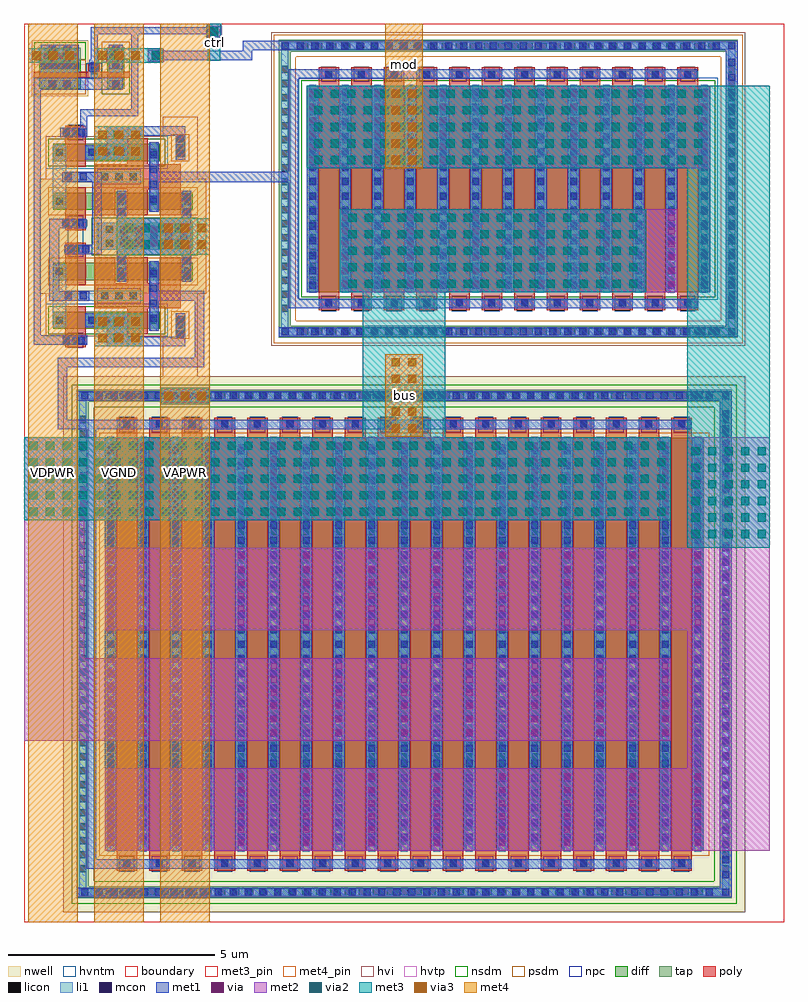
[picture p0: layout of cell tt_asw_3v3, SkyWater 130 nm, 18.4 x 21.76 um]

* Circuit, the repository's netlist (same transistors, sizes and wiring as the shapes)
** sch_path: /home/tnt/consult/tinytapeout/tt_asw_3v3/xschem/tt_asw_3v3.sch
.subckt tt_asw_3v3 VGND VDPWR VAPWR ctrl mod bus
*.iopin mod
*.iopin bus
*.ipin ctrl
*.iopin VGND
*.iopin VDPWR
*.iopin VAPWR
XM1 tgon_n net2 VAPWR VAPWR sky130_fd_pr__pfet_g5v0d10v5 L=0.5 W=0.84 nf=1 ad='int((nf+1)/2) * W/nf * 0.29' as='int((nf+2)/2) * W/nf * 0.29'
+ pd='2*int((nf+1)/2) * (W/nf + 0.29)' ps='2*int((nf+2)/2) * (W/nf + 0.29)' nrd='0.29 / W' nrs='0.29 / W' sa=0 sb=0 sd=0 mult=1 m=1
XM2 tgon_n net2 VGND VGND sky130_fd_pr__nfet_g5v0d10v5 L=0.5 W=0.42 nf=1 ad='int((nf+1)/2) * W/nf * 0.29' as='int((nf+2)/2) * W/nf * 0.29'
+ pd='2*int((nf+1)/2) * (W/nf + 0.29)' ps='2*int((nf+2)/2) * (W/nf + 0.29)' nrd='0.29 / W' nrs='0.29 / W' sa=0 sb=0 sd=0 mult=1 m=1
XM3 tgon net1 VAPWR VAPWR sky130_fd_pr__pfet_g5v0d10v5 L=0.5 W=0.84 nf=1 ad='int((nf+1)/2) * W/nf * 0.29' as='int((nf+2)/2) * W/nf * 0.29'
+ pd='2*int((nf+1)/2) * (W/nf + 0.29)' ps='2*int((nf+2)/2) * (W/nf + 0.29)' nrd='0.29 / W' nrs='0.29 / W' sa=0 sb=0 sd=0 mult=1 m=1
XM4 tgon net1 VGND VGND sky130_fd_pr__nfet_g5v0d10v5 L=0.5 W=0.42 nf=1 ad='int((nf+1)/2) * W/nf * 0.29' as='int((nf+2)/2) * W/nf * 0.29'
+ pd='2*int((nf+1)/2) * (W/nf + 0.29)' ps='2*int((nf+2)/2) * (W/nf + 0.29)' nrd='0.29 / W' nrs='0.29 / W' sa=0 sb=0 sd=0 mult=1 m=1
XM5 bus tgon_n mod VAPWR sky130_fd_pr__pfet_g5v0d10v5 L=0.5 W=180 nf=18 ad='int((nf+1)/2) * W/nf * 0.29' as='int((nf+2)/2) * W/nf * 0.29'
+ pd='2*int((nf+1)/2) * (W/nf + 0.29)' ps='2*int((nf+2)/2) * (W/nf + 0.29)' nrd='0.29 / W' nrs='0.29 / W' sa=0 sb=0 sd=0 mult=1 m=1
XM6 bus tgon mod VGND sky130_fd_pr__nfet_g5v0d10v5 L=0.5 W=60 nf=12 ad='int((nf+1)/2) * W/nf * 0.29' as='int((nf+2)/2) * W/nf * 0.29'
+ pd='2*int((nf+1)/2) * (W/nf + 0.29)' ps='2*int((nf+2)/2) * (W/nf + 0.29)' nrd='0.29 / W' nrs='0.29 / W' sa=0 sb=0 sd=0 mult=1 m=1
XM7 ctrl_n ctrl VGND VGND sky130_fd_pr__nfet_01v8 L=0.15 W=0.42 nf=1 ad='int((nf+1)/2) * W/nf * 0.29' as='int((nf+2)/2) * W/nf * 0.29'
+ pd='2*int((nf+1)/2) * (W/nf + 0.29)' ps='2*int((nf+2)/2) * (W/nf + 0.29)' nrd='0.29 / W' nrs='0.29 / W' sa=0 sb=0 sd=0 mult=1 m=1
XM8 ctrl_n ctrl VDPWR VDPWR sky130_fd_pr__pfet_01v8_hvt L=0.15 W=1 nf=1 ad='int((nf+1)/2) * W/nf * 0.29' as='int((nf+2)/2) * W/nf * 0.29'
+ pd='2*int((nf+1)/2) * (W/nf + 0.29)' ps='2*int((nf+2)/2) * (W/nf + 0.29)' nrd='0.29 / W' nrs='0.29 / W' sa=0 sb=0 sd=0 mult=1 m=1
XM9 net1 ctrl VGND VGND sky130_fd_pr__nfet_g5v0d10v5 L=0.5 W=0.42 nf=1 ad='int((nf+1)/2) * W/nf * 0.29' as='int((nf+2)/2) * W/nf * 0.29'
+ pd='2*int((nf+1)/2) * (W/nf + 0.29)' ps='2*int((nf+2)/2) * (W/nf + 0.29)' nrd='0.29 / W' nrs='0.29 / W' sa=0 sb=0 sd=0 mult=1 m=1
XM10 net2 ctrl_n VGND VGND sky130_fd_pr__nfet_g5v0d10v5 L=0.5 W=0.42 nf=1 ad='int((nf+1)/2) * W/nf * 0.29' as='int((nf+2)/2) * W/nf * 0.29'
+ pd='2*int((nf+1)/2) * (W/nf + 0.29)' ps='2*int((nf+2)/2) * (W/nf + 0.29)' nrd='0.29 / W' nrs='0.29 / W' sa=0 sb=0 sd=0 mult=1 m=1
XM11 net1 net2 net3 VAPWR sky130_fd_pr__pfet_g5v0d10v5 L=0.5 W=0.42 nf=1 ad='int((nf+1)/2) * W/nf * 0.29' as='int((nf+2)/2) * W/nf * 0.29'
+ pd='2*int((nf+1)/2) * (W/nf + 0.29)' ps='2*int((nf+2)/2) * (W/nf + 0.29)' nrd='0.29 / W' nrs='0.29 / W' sa=0 sb=0 sd=0 mult=1 m=1
XM12 net2 net1 net4 VAPWR sky130_fd_pr__pfet_g5v0d10v5 L=0.5 W=0.42 nf=1 ad='int((nf+1)/2) * W/nf * 0.29' as='int((nf+2)/2) * W/nf * 0.29'
+ pd='2*int((nf+1)/2) * (W/nf + 0.29)' ps='2*int((nf+2)/2) * (W/nf + 0.29)' nrd='0.29 / W' nrs='0.29 / W' sa=0 sb=0 sd=0 mult=1 m=1
XM13 net3 net1 VAPWR VAPWR sky130_fd_pr__pfet_g5v0d10v5 L=0.5 W=0.42 nf=1 ad='int((nf+1)/2) * W/nf * 0.29' as='int((nf+2)/2) * W/nf * 0.29'
+ pd='2*int((nf+1)/2) * (W/nf + 0.29)' ps='2*int((nf+2)/2) * (W/nf + 0.29)' nrd='0.29 / W' nrs='0.29 / W' sa=0 sb=0 sd=0 mult=1 m=1
XM14 net4 net2 VAPWR VAPWR sky130_fd_pr__pfet_g5v0d10v5 L=0.5 W=0.42 nf=1 ad='int((nf+1)/2) * W/nf * 0.29' as='int((nf+2)/2) * W/nf * 0.29'
+ pd='2*int((nf+1)/2) * (W/nf + 0.29)' ps='2*int((nf+2)/2) * (W/nf + 0.29)' nrd='0.29 / W' nrs='0.29 / W' sa=0 sb=0 sd=0 mult=1 m=1
.ends
.end

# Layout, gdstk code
import gdstk
lib = gdstk.Library(unit=1e-6, precision=1e-09)
def R(c, l, rs):  # rectangles x0, y0, x1, y1
    for r in rs: c.add(gdstk.rectangle(r[:2], r[2:], *l))
def A(c, l, x, y, w, h, nx, ny, dx, dy):  # array of equal rectangles
    R(c, l, [(x+i*dx, y+j*dy, x+i*dx+w, y+j*dy+h) for i in range(nx) for j in range(ny)])
nwell = (64, 20)
diff = (65, 20)
tap = (65, 44)
poly = (66, 20)
licon = (66, 44)
li1 = (67, 20)
mcon = (67, 44)
met1 = (68, 20)
via = (68, 44)
met2 = (69, 20)
via2 = (69, 44)
met3_pin = (70, 16)
met3 = (70, 20)
via3 = (70, 44)
met4_pin = (71, 16)
met4 = (71, 20)
hvi = (75, 20)
hvtp = (78, 44)
nsdm = (93, 44)
psdm = (94, 20)
npc = (95, 20)
hvntm = (125, 20)
boundary = (235, 4)

tt_asw_3v3 = lib.new_cell('tt_asw_3v3')
R(tt_asw_3v3, nwell, [(0.95,0.25,17.46,13.22), (0.38,15.22,4.41,18), (0.19,20,1.55,21.36)])
R(tt_asw_3v3, diff, [(1.95,1.735,16.46,11.735), (0.71,14.37,3.29,14.79), (6.84,15.26,16.61,20.26), (0.71,15.55,4.08,15.97), (0.71,17.25,4.08,17.67), (0.71,18.43,3.29,18.85), (0.37,20.18,1.37,20.89), (2.01,20.18,2.43,20.9)])
R(tt_asw_3v3, tap, [(1.28,0.58,17.13,0.87), (1.28,0.87,1.57,12.6), (16.84,0.87,17.13,12.6), (1.28,12.6,17.13,12.89), (6.17,14.15,17.28,14.44), (3.69,14.26,3.88,14.67), (6.17,14.44,6.46,21.08), (16.99,14.44,17.28,21.08), (1.76,16.28,4.08,16.94), (3.69,18.55,3.88,18.96), (0.37,20.89,1.37,21.18), (2.01,20.9,2.43,21.19), (6.17,21.08,17.28,21.37)])
A(tt_asw_3v3, poly, 2.24, 1.25, 0.5, 10.97, 18, 1, 0.79, 0)
A(tt_asw_3v3, poly, 7.13, 14.82, 0.5, 5.88, 12, 1, 0.79, 0)
A(tt_asw_3v3, poly, 1.71, 15.47, 0.5, 0.63, 3, 2, 0.79, 1.65)
R(tt_asw_3v3, poly, [(1,13.93,1.5,14.92), (2.5,14.24,3,14.87), (1.71,14.87,3.79,15.47), (1,15.42,1.5,16.46), (1,16.76,1.5,17.8), (1.71,17.75,3.79,18.35), (1,18.3,1.5,19.29), (2.5,18.35,3,18.98), (0.24,20.45,2.56,20.6), (1.56,20.6,1.83,20.78)])
A(tt_asw_3v3, licon, 1.98, 0.64, 0.17, 0.17, 43, 2, 0.34, 12.02)
A(tt_asw_3v3, licon, 1.34, 1.21, 0.17, 0.17, 1, 33, 0, 0.34)
A(tt_asw_3v3, licon, 16.9, 1.21, 0.17, 0.17, 1, 33, 0, 0.34)
A(tt_asw_3v3, licon, 2.405, 1.33, 0.17, 0.17, 18, 2, 0.79, 10.64)
A(tt_asw_3v3, licon, 2.01, 1.89, 0.17, 0.17, 19, 29, 0.79, 0.34)
A(tt_asw_3v3, licon, 6.71, 14.21, 0.17, 0.17, 30, 2, 0.34, 6.93)
A(tt_asw_3v3, licon, 1.575, 14.495, 0.17, 0.17, 3, 2, 0.34, 4.06)
A(tt_asw_3v3, licon, 6.23, 14.785, 0.17, 0.17, 1, 18, 0, 0.34)
A(tt_asw_3v3, licon, 17.05, 14.785, 0.17, 0.17, 1, 18, 0, 0.34)
A(tt_asw_3v3, licon, 7.295, 14.9, 0.17, 0.17, 12, 2, 0.79, 5.55)
A(tt_asw_3v3, licon, 1.875, 15.085, 0.17, 0.17, 3, 2, 0.34, 2.88)
A(tt_asw_3v3, licon, 6.9, 15.465, 0.17, 0.17, 13, 14, 0.79, 0.34)
A(tt_asw_3v3, licon, 2.27, 15.675, 0.17, 0.17, 3, 2, 0.79, 1.7)
A(tt_asw_3v3, licon, 1.985, 16.355, 0.17, 0.17, 6, 2, 0.34, 0.34)
A(tt_asw_3v3, licon, 0.445, 20.66, 0.17, 0.17, 3, 1, 0.34, 0)
R(tt_asw_3v3, licon, [(1.165,14.01,1.335,14.18), (3.7,14.38,3.87,14.55), (0.77,14.495,0.94,14.665), (3.06,14.495,3.23,14.665), (0.77,15.675,0.94,15.845), (1.165,16.21,1.335,16.38), (1.165,16.84,1.335,17.01), (0.77,17.375,0.94,17.545), (0.77,18.555,0.94,18.725), (3.06,18.555,3.23,18.725), (3.7,18.67,3.87,18.84), (1.165,19.04,1.335,19.21), (0.615,20.22,0.785,20.39), (0.955,20.22,1.125,20.39), (2.135,20.22,2.305,20.39), (1.61,20.53,1.78,20.7), (2.135,20.66,2.305,20.83), (0.615,21,0.785,21.17), (0.955,21,1.125,21.17), (2.135,21,2.305,21.17)])
A(tt_asw_3v3, li1, 2.24, 1.33, 0.5, 0.17, 18, 2, 0.79, 10.64)
A(tt_asw_3v3, li1, 2.01, 1.715, 0.17, 10.04, 19, 1, 0.79, 0)
A(tt_asw_3v3, li1, 7.13, 14.9, 0.5, 0.17, 12, 2, 0.79, 5.55)
A(tt_asw_3v3, li1, 6.9, 15.24, 0.17, 5.04, 13, 1, 0.79, 0)
R(tt_asw_3v3, li1, [(1.34,0.64,17.07,0.81), (1.34,0.81,1.51,12.66), (16.9,0.81,17.07,12.66), (1.34,12.66,17.07,12.83), (0.94,14.01,1.53,14.18), (3.7,14.16,3.87,14.69), (6.23,14.21,17.22,14.38), (3.06,14.33,3.23,16.01), (6.23,14.38,6.4,21.14), (17.05,14.38,17.22,21.14), (0.69,14.41,1.02,15.045), (1.48,14.41,2.52,14.75), (0.69,15.045,2.89,15.295), (0.69,15.295,1.02,15.93), (2.27,15.51,2.44,16.28), (3.85,15.51,4.02,16.28), (0.97,16.21,1.58,16.38), (1.8,16.28,4.04,16.94), (0.92,16.84,1.53,17.01), (2.27,16.94,2.44,17.71), (3.85,16.94,4.02,17.71), (3.06,17.21,3.23,18.89), (0.69,17.29,1.02,17.925), (0.69,17.925,2.89,18.175), (0.69,18.175,1.02,18.81), (1.48,18.47,2.52,18.81), (3.7,18.53,3.87,19.06), (0.94,19.04,1.53,19.21), (0.41,20.22,1.33,20.39), (2.05,20.22,2.39,20.39), (1.61,20.45,1.78,20.82), (0.41,20.58,1.33,21.25), (2.05,20.58,2.39,21.25), (6.23,21.14,17.22,21.31)])
A(tt_asw_3v3, mcon, 1.38, 0.64, 0.17, 0.17, 43, 2, 0.36, 12.02)
A(tt_asw_3v3, mcon, 16.9, 1.07, 0.17, 0.17, 1, 32, 0, 0.36)
A(tt_asw_3v3, mcon, 2.405, 1.33, 0.17, 0.17, 18, 2, 0.79, 10.64)
A(tt_asw_3v3, mcon, 2.01, 1.97, 0.17, 0.17, 19, 27, 0.79, 0.36)
A(tt_asw_3v3, mcon, 6.24, 14.21, 0.17, 0.17, 30, 2, 0.36, 6.93)
A(tt_asw_3v3, mcon, 1.555, 14.495, 0.17, 0.17, 3, 2, 0.36, 4.06)
A(tt_asw_3v3, mcon, 3.06, 14.545, 0.17, 0.17, 1, 4, 0, 0.36)
A(tt_asw_3v3, mcon, 17.05, 14.615, 0.17, 0.17, 1, 18, 0, 0.36)
A(tt_asw_3v3, mcon, 7.295, 14.9, 0.17, 0.17, 12, 2, 0.79, 5.55)
A(tt_asw_3v3, mcon, 6.9, 15.335, 0.17, 0.17, 13, 14, 0.79, 0.36)
A(tt_asw_3v3, mcon, 2.34, 16.525, 0.17, 0.17, 5, 1, 0.36, 0)
A(tt_asw_3v3, mcon, 3.06, 17.425, 0.17, 0.17, 1, 4, 0, 0.36)
R(tt_asw_3v3, mcon, [(16.9,0.64,17.07,0.81), (16.9,12.66,17.07,12.83), (0.94,14.01,1.11,14.18), (1.3,14.01,1.47,14.18), (3.7,14.16,3.87,14.33), (17.05,14.21,17.22,14.38), (3.7,14.52,3.87,14.69), (0.985,15.085,1.155,15.255), (1.345,15.085,1.515,15.255), (2.27,15.57,2.44,15.74), (3.85,15.57,4.02,15.74), (2.27,15.93,2.44,16.1), (3.85,15.93,4.02,16.1), (1.05,16.21,1.22,16.38), (1.41,16.21,1.58,16.38), (0.92,16.84,1.09,17.01), (1.28,16.84,1.45,17.01), (2.27,17.12,2.44,17.29), (3.85,17.12,4.02,17.29), (2.27,17.48,2.44,17.65), (3.85,17.48,4.02,17.65), (0.985,17.965,1.155,18.135), (1.345,17.965,1.515,18.135), (3.7,18.53,3.87,18.7), (3.7,18.89,3.87,19.06), (0.94,19.04,1.11,19.21), (1.3,19.04,1.47,19.21), (0.605,20.22,0.775,20.39), (0.965,20.22,1.135,20.39), (2.135,20.22,2.305,20.39), (1.61,20.65,1.78,20.82), (0.605,20.685,0.775,20.855), (0.965,20.685,1.135,20.855), (2.135,20.685,2.305,20.855), (0.605,21.045,0.775,21.215), (0.965,21.045,1.135,21.215), (2.135,21.045,2.305,21.215), (17.05,21.14,17.22,21.31)])
A(tt_asw_3v3, met1, 1.96, 1.73, 0.27, 10.01, 19, 1, 0.79, 0)
A(tt_asw_3v3, met1, 6.85, 15.26, 0.27, 5, 13, 1, 0.79, 0)
R(tt_asw_3v3, met1, [(1.28,0.61,17.13,0.84), (16.84,0.84,17.13,12.63), (1.52,1.3,16.15,1.53), (1.52,1.53,1.75,11.94), (0.82,11.94,16.15,12.17), (0.82,12.17,1.05,13.44), (3.31,12.58,4.49,12.63), (1.28,12.63,17.13,12.86), (3.31,12.86,4.49,12.91), (0.82,13.44,4.36,13.67), (4.13,13.67,4.36,15.045), (2,13.95,3.9,14.18), (0.24,13.98,1.53,14.21), (2,14.18,2.52,14.41), (3.67,14.18,3.9,14.75), (6.17,14.18,17.28,14.41), (0.24,14.21,0.41,20.16), (3.03,14.33,3.26,15.045), (1.48,14.41,2.52,14.75), (16.99,14.41,17.28,21.11), (6.41,14.87,16.3,15.1), (3.03,15.045,4.36,15.295), (0.61,15.055,1.58,15.285), (6.41,15.1,6.64,17.925), (0.61,15.285,0.85,16.81), (3.03,15.295,3.26,16.01), (2.24,15.51,2.47,16.17), (3.82,15.51,4.05,16.17), (2.24,16.17,4.05,17.05), (0.99,16.18,1.88,16.41), (1.65,16.41,1.88,17.935), (0.61,16.81,1.51,17.04), (2.24,17.05,2.47,17.71), (3.82,17.05,4.05,17.71), (3.03,17.21,3.26,17.925), (3.03,17.925,6.64,18.175), (0.92,17.935,1.88,18.165), (3.03,18.175,3.26,18.89), (6.41,18.175,6.64,20.42), (1.48,18.47,2.52,18.81), (3.67,18.47,3.9,19.04), (2,18.81,2.52,19.04), (0.88,19.01,1.53,19.24), (2,19.04,3.9,19.27), (1.36,19.24,1.53,19.52), (1.36,19.52,2.77,19.69), (2.6,19.69,2.77,21.5), (0.24,20.16,2.39,20.45), (6.41,20.42,16.3,20.65), (1.58,20.59,1.81,20.88), (0.41,20.65,1.33,21.25), (2.05,20.65,2.39,20.82), (2.01,20.82,2.39,21.15), (2.99,20.85,3.39,20.87), (2.99,20.87,5.53,21.1), (1.61,20.88,1.78,21.5), (2.99,21.1,3.39,21.12), (5.3,21.1,5.53,21.11), (5.3,21.11,17.28,21.34), (2.05,21.15,2.39,21.25), (4.44,21.44,4.76,21.5), (1.61,21.5,4.76,21.67), (4.44,21.67,4.76,21.7)])
A(tt_asw_3v3, via, 2.02, 1.855, 0.15, 0.15, 10, 6, 1.58, 0.32)
A(tt_asw_3v3, via, 2.81, 4.525, 0.15, 0.15, 9, 6, 1.58, 0.32)
A(tt_asw_3v3, via, 2.02, 7.195, 0.15, 0.15, 10, 6, 1.58, 0.32)
A(tt_asw_3v3, via, 2.81, 9.865, 0.15, 0.15, 9, 6, 1.58, 0.32)
A(tt_asw_3v3, via, 3.505, 12.67, 0.15, 0.15, 3, 1, 0.32, 0)
A(tt_asw_3v3, via, 7.7, 15.385, 0.15, 0.15, 6, 6, 1.58, 0.32)
A(tt_asw_3v3, via, 2.43, 16.375, 0.15, 0.15, 5, 2, 0.32, 0.32)
A(tt_asw_3v3, via, 6.91, 18.385, 0.15, 0.15, 7, 6, 1.58, 0.32)
A(tt_asw_3v3, via, 0.475, 20.91, 0.15, 0.15, 3, 1, 0.32, 0)
R(tt_asw_3v3, via, [(2.185,14.115,2.335,14.265), (2.185,14.435,2.335,14.585), (2.185,18.635,2.335,18.785), (2.185,18.955,2.335,19.105), (2.105,20.91,2.255,21.06), (3.115,20.91,3.265,21.06), (4.525,21.495,4.675,21.645)])
R(tt_asw_3v3, met2, [(1.96,1.73,18.06,3.73), (16.06,3.73,18.06,7.07), (0,4.4,15.66,6.4), (0,6.4,1.46,9.74), (1.96,7.07,18.06,9.07), (16.06,9.07,18.06,11.74), (0,9.74,15.66,11.74), (3.31,12.58,4.49,12.91), (2,13.95,2.52,14.75), (7.64,15.26,15.81,17.26), (2.24,16.17,4.05,17.05), (6.85,18.26,16.6,20.26), (2,18.47,2.52,19.27), (0.41,20.82,1.33,21.15), (1.99,20.82,2.37,21.15), (3,20.82,3.38,21.15), (4.41,21.43,4.79,21.71)])
A(tt_asw_3v3, via2, 16.16, 9.305, 0.2, 0.2, 5, 6, 0.4, 0.4)
A(tt_asw_3v3, via2, 0.13, 9.84, 0.2, 0.2, 39, 5, 0.4, 0.4)
A(tt_asw_3v3, via2, 3.4, 12.645, 0.2, 0.2, 3, 1, 0.4, 0)
A(tt_asw_3v3, via2, 7.85, 15.36, 0.2, 0.2, 18, 5, 0.4, 0.4)
A(tt_asw_3v3, via2, 2.445, 16.31, 0.2, 0.2, 4, 2, 0.4, 0.4)
A(tt_asw_3v3, via2, 7.025, 18.36, 0.2, 0.2, 24, 5, 0.4, 0.4)
R(tt_asw_3v3, via2, [(2.16,14.05,2.36,14.25), (2.16,14.45,2.36,14.65), (2.16,18.57,2.36,18.77), (2.16,18.97,2.36,19.17), (0.57,20.885,0.77,21.085), (0.97,20.885,1.17,21.085), (2.08,20.885,2.28,21.085), (3.09,20.885,3.29,21.085), (4.5,21.47,4.7,21.67)])
R(tt_asw_3v3, met3_pin, [(4.45,20.86,4.75,21.76)])
R(tt_asw_3v3, met3, [(16.06,9.07,18.06,18.26), (0,9.74,15.66,11.74), (8.2,11.74,10.2,15.26), (3.31,12.55,4.49,12.94), (1.7,13.95,2.9,14.75), (7.64,15.26,15.06,17.26), (2.24,16.17,4.5,17.05), (6.85,18.26,18.06,20.26), (1.7,18.47,2.9,19.27), (0.1,20.81,1.31,21.16), (1.7,20.81,3.36,21.16), (4.45,20.86,4.75,21.38), (4.43,21.38,4.77,21.76)])
A(tt_asw_3v3, via3, 8.9, 11.86, 0.2, 0.2, 1, 5, 0, 0.4)
A(tt_asw_3v3, via3, 9.3, 11.86, 0.2, 0.2, 1, 5, 0, 0.4)
A(tt_asw_3v3, via3, 3.4, 12.645, 0.2, 0.2, 3, 2, 0.4, 3.665)
A(tt_asw_3v3, via3, 1.8, 14.05, 0.2, 0.2, 3, 2, 0.4, 0.4)
A(tt_asw_3v3, via3, 3.4, 16.71, 0.2, 0.2, 3, 1, 0.4, 0)
A(tt_asw_3v3, via3, 8.9, 18.36, 0.2, 0.2, 1, 5, 0, 0.4)
A(tt_asw_3v3, via3, 9.3, 18.36, 0.2, 0.2, 1, 5, 0, 0.4)
A(tt_asw_3v3, via3, 1.8, 18.57, 0.2, 0.2, 3, 2, 0.4, 0.4)
A(tt_asw_3v3, via3, 0.2, 20.885, 0.2, 0.2, 3, 1, 0.4, 0)
A(tt_asw_3v3, via3, 1.8, 20.885, 0.2, 0.2, 3, 1, 0.4, 0)
A(tt_asw_3v3, met4_pin, 0.1, 0, 1.2, 21.76, 3, 1, 1.6, 0)
R(tt_asw_3v3, met4_pin, [(8.75,11.76,9.65,13.76), (8.75,19.76,9.65,21.76)])
A(tt_asw_3v3, met4, 0.1, 0, 1.2, 21.76, 3, 1, 1.6, 0)
R(tt_asw_3v3, met4, [(8.75,11.76,9.65,13.76), (8.75,18.26,9.65,21.76)])
R(tt_asw_3v3, hvi, [(0.95,0.25,17.46,13.22), (3.365,13.22,4.205,14.185), (5.985,13.965,17.465,21.555), (0.525,14.185,4.205,15.22), (0.38,15.22,4.41,18), (0.525,18,4.205,19.035), (3.365,19.035,4.205,19.51)])
R(tt_asw_3v3, hvtp, [(0.19,20.27,1.55,20.78)])
R(tt_asw_3v3, nsdm, [(1.155,0.455,17.255,0.995), (1.155,0.995,1.695,12.475), (16.715,0.995,17.255,12.475), (1.155,12.475,17.255,13.015), (0.585,14.245,3.415,14.915), (6.715,15.135,16.735,20.385), (1.635,16.155,4.205,17.065), (0.585,18.305,3.415,18.975), (1.885,20.055,2.555,20.9), (0.245,20.89,1.495,21.305)])
R(tt_asw_3v3, psdm, [(1.825,1.61,16.585,11.86), (6.045,14.025,17.405,14.565), (3.565,14.135,4.005,14.795), (6.045,14.565,6.585,20.955), (16.865,14.565,17.405,20.955), (0.585,15.425,4.205,16.095), (0.585,17.125,4.205,17.795), (3.565,18.425,4.005,19.085), (0.245,20.055,1.495,20.89), (1.885,20.9,2.555,21.315), (6.045,20.955,17.405,21.495)])
A(tt_asw_3v3, npc, 2.305, 1.23, 0.37, 0.37, 18, 2, 0.79, 10.64)
A(tt_asw_3v3, npc, 7.195, 14.8, 0.37, 0.37, 12, 2, 0.79, 5.55)
R(tt_asw_3v3, npc, [(1.065,13.91,1.435,14.28), (1.775,14.985,2.825,15.355), (1.065,16.11,1.435,17.11), (1.775,17.865,2.825,18.235), (1.065,18.94,1.435,19.31), (1.51,20.43,1.88,20.8)])
R(tt_asw_3v3, hvntm, [(0.525,14.185,3.475,14.975), (6.655,15.075,16.795,20.445), (0.525,18.245,3.475,19.035)])
R(tt_asw_3v3, boundary, [(0,0,18.4,21.76)])
tt_asw_3v3.add(gdstk.Label('VGND', (2.3,10.88), layer=71, texttype=5))
tt_asw_3v3.add(gdstk.Label('VDPWR', (0.7,10.88), layer=71, texttype=5))
tt_asw_3v3.add(gdstk.Label('VAPWR', (3.9,10.88), layer=71, texttype=5))
tt_asw_3v3.add(gdstk.Label('ctrl', (4.6,21.31), layer=70, texttype=5))
tt_asw_3v3.add(gdstk.Label('mod', (9.2,20.76), layer=71, texttype=5))
tt_asw_3v3.add(gdstk.Label('bus', (9.2,12.76), layer=71, texttype=5))

lib.write_gds('tt_asw_3v3.gds')
